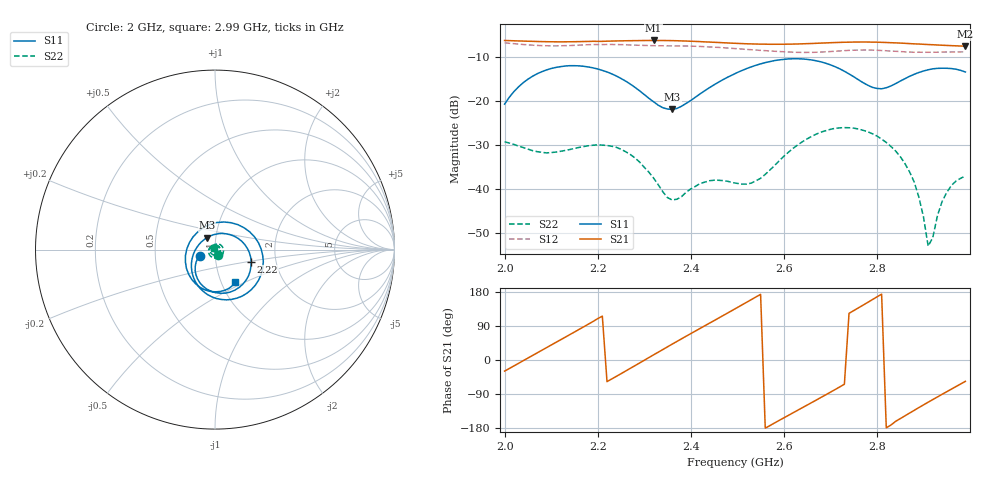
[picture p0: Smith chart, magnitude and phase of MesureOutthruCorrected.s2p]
!Created with skrf (http://scikit-rf.org).
# MHz S RI R 50.0
!freq ReS11 ImS11 ReS21 ImS21 ReS12 ImS12 ReS22 ImS22
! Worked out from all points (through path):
!   100 points, 2 GHz to 2.99 GHz, reference 50 ohm
!   highest |S21| = -6.27 dB at 2.32 GHz (marker M1); lowest = -7.6 dB at 2.99 GHz (marker M2)
!   lowest |S11| = -21.9 dB at 2.36 GHz (marker M3), VSWR 1.17, Z = 45.4 + j6.13 ohm
!   |S11| at or under -10 dB: start of sweep to end of sweep
!   |S22| runs from -52.9 to -26.0 dB; largest |S21 - S12| = 0.89
!   S11 on the Smith chart (normalised r, x): 2 GHz: 0.84, -0.06; 2.22 GHz: 1.49, -0.22; 2.99 GHz: 1.17, -0.44
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2000  -0.0859 -0.0333  0.4237 -0.2375  -0.1038 0.4443  0.0144 -0.0313
2090  -0.0455 -0.2203  0.3966 0.2531  -0.4172 0.0694  -0.00394 0.0255
2170  0.1549 -0.193  0.0194 0.4724  -0.2748 -0.3344  -0.0141 -0.027
2210  0.1999 -0.0969  -0.206 0.428  -0.0555 -0.4331  0.019 -0.0252
2220  0.202 -0.0693  0.2587 -0.4008  -0.00588 0.4376  0.0247 -0.0192
2270  0.1481 0.0474  0.4477 -0.1814  -0.2788 0.3304  0.0207 0.0135
2320  0.0385 0.0901  0.4724 0.1141  -0.4154 0.0868  5.31e-05 0.0134
2330  0.016 0.0882  0.4543 0.1703  -0.422 0.0324  -0.00143 0.0111
2360  -0.044 0.0671  0.3604 0.3228  -0.4004 -0.1337  -0.00117 0.00744
2430  -0.1247 -0.0392  -0.00195 0.4683  -0.1191 -0.3958  -0.0101 0.00655
2500  -0.1081 -0.1805  -0.3367 0.2986  0.2403 -0.3089  -0.000908 -0.0116
2580  0.064 -0.2801  -0.4273 -0.1053  0.3635 0.0485  0.00355 0.0182
2660  0.257 -0.1384  -0.1697 -0.4157  0.1595 0.3184  -0.0354 -0.0181
2730  0.194 0.0984  0.204 -0.4166  -0.1559 0.3386  0.0301 -0.0398
2740  0.1624 0.1215  -0.2541 0.389  0.2015 -0.3164  0.0387 -0.0312
2790  -0.0281 0.1401  -0.4351 0.1649  0.3593 -0.1157  0.0366 0.0216
2830  -0.1429 0.0386  -0.4534 -0.0668  0.3587 0.0824  0.00291 0.0304
2880  -0.1469 -0.1369  -0.3025 -0.3259  0.2196 0.2816  -0.0104 0.00613
2900  -0.1083 -0.1901  -0.2096 -0.3866  0.1423 0.3275  -0.00463 0.00136
2910  -0.0833 -0.2101  -0.1592 -0.4068  0.0993 0.343  -0.0017 0.00148
2950  0.0295 -0.2332  0.0472 -0.4242  -0.0873 0.3482  0.000837 0.00914
2990  0.1139 -0.1801  0.2319 -0.348  -0.2573 0.2531  -0.00825 0.0114
